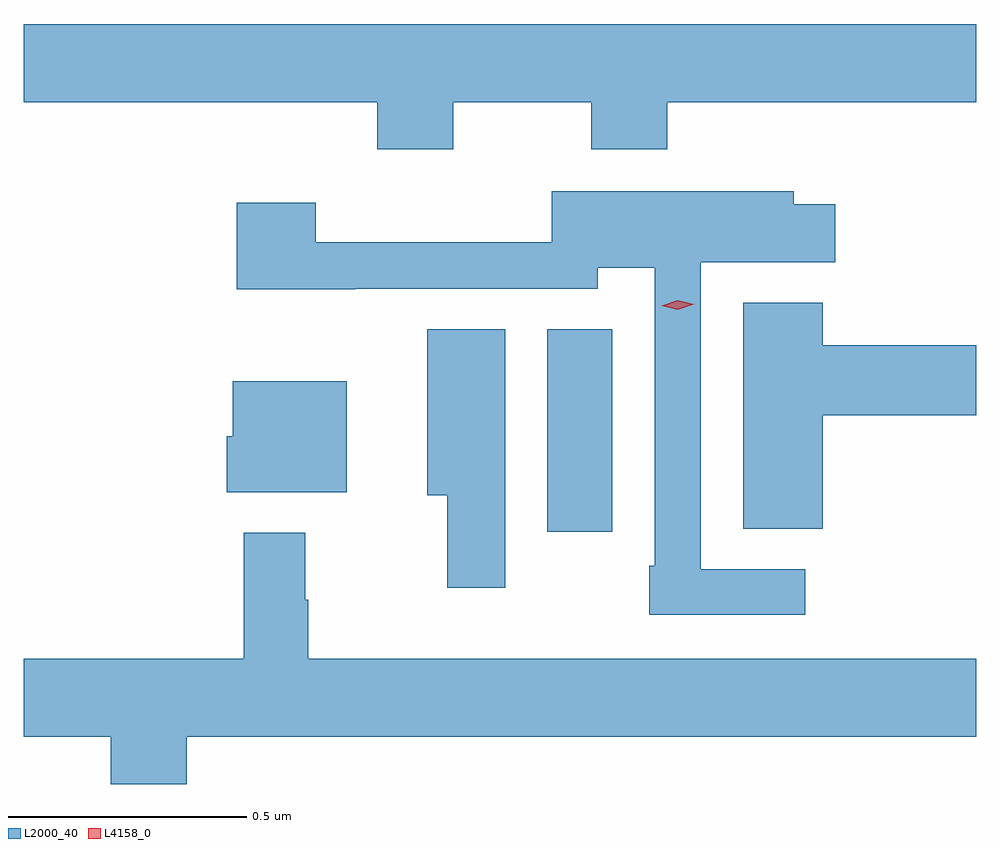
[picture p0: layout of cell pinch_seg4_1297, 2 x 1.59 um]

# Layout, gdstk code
import gdstk
lib = gdstk.Library(unit=1e-6, precision=1e-09)
def R(c, l, rs):  # rectangles x0, y0, x1, y1
    for r in rs: c.add(gdstk.rectangle(r[:2], r[2:], *l))
def P(c, l, *ps):  # polygons
    for p in ps: c.add(gdstk.Polygon(p, *l))
L2000_40 = (2000, 40)
L4158_0 = (4158, 0)

pinch_seg4_1297 = lib.new_cell('pinch_seg4_1297')
R(pinch_seg4_1297, L2000_40, [(223.958,754.626,224.095,755.051)])
P(pinch_seg4_1297, L2000_40, [(223.761,755.528),(224.05,755.528),(224.05,755.429),(224.21,755.429),(224.21,755.528),(224.859,755.528),(224.859,755.692),(222.859,755.692),(222.859,755.528),(223.601,755.528),(223.601,755.429),(223.761,755.429)],
  [(224.5,754.548),(224.28,754.548),(224.28,755.192),(224.563,755.192),(224.563,755.314),(224.475,755.314),(224.475,755.341),(223.968,755.341),(223.968,755.234),(223.472,755.234),(223.472,755.317),(223.307,755.317),(223.307,755.135),(223.555,755.135),(223.555,755.136),(224.064,755.136),(224.064,755.18),(224.184,755.18),(224.184,754.555),(224.172,754.555),(224.172,754.452),(224.5,754.452)],
  [(224.536,754.871),(224.859,754.871),(224.859,755.018),(224.536,755.018),(224.536,755.107),(224.369,755.107),(224.369,754.633),(224.536,754.633)],
  [(223.87,755.051),(223.706,755.051),(223.706,754.703),(223.748,754.703),(223.748,754.509),(223.87,754.509)],
  [(223.537,754.942),(223.298,754.942),(223.298,754.827),(223.286,754.827),(223.286,754.709),(223.537,754.709)],
  [(223.202,754.196),(224.859,754.196),(224.859,754.36),(223.457,754.36),(223.457,754.484),(223.45,754.484),(223.45,754.624),(223.321,754.624),(223.321,754.36),(222.859,754.36),(222.859,754.196),(223.042,754.196),(223.042,754.097),(223.202,754.097)])
P(pinch_seg4_1297, L4158_0, [(224.232,755.092),(224.198,755.101),(224.197,755.101),(224.198,755.101),(224.232,755.112),(224.266,755.104),(224.267,755.104),(224.266,755.104)])

lib.write_gds('pinch_seg4_1297.gds')
